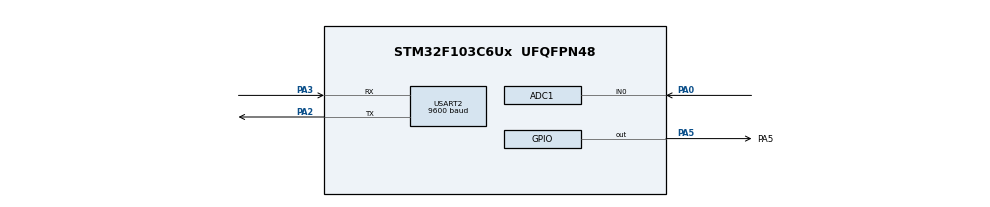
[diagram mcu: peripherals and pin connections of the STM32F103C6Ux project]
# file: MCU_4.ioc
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ADC1.Channel-0\#ChannelRegularConversion=ADC_CHANNEL_0
ADC1.ContinuousConvMode=ENABLE
ADC1.NbrOfConversionFlag=1
ADC1.Rank-0\#ChannelRegularConversion=1
ADC1.SamplingTime-0\#ChannelRegularConversion=ADC_SAMPLETIME_1CYCLE_5
ADC1.master=1
Mcu.Family=STM32F1
Mcu.Name=STM32F103C6Ux
Mcu.Package=UFQFPN48
NVIC.PriorityGroup=NVIC_PRIORITYGROUP_4
NVIC.TIM2_IRQn=true\:0\:0\:false\:false\:true\:true\:true\:true
NVIC.USART2_IRQn=true\:0\:0\:false\:false\:true\:true\:true\:true
PA0-WKUP.Signal=ADCx_IN0
PA13.Mode=Serial_Wire
PA13.Signal=SYS_JTMS-SWDIO
PA14.Mode=Serial_Wire
PA14.Signal=SYS_JTCK-SWCLK
PA2.Mode=Asynchronous
PA2.Signal=USART2_TX
PA3.Mode=Asynchronous
PA3.Signal=USART2_RX
PA5.GPIO_Label=PA5
PA5.Signal=GPIO_Output
ProjectManager.HeapSize=0x200
ProjectManager.StackSize=0x400
ProjectManager.TargetToolchain=STM32CubeIDE
RCC.APB1Freq_Value=8000000
RCC.APB2Freq_Value=8000000
SH.ADCx_IN0.0=ADC1_IN0,IN0
TIM2.Period=7
TIM2.Prescaler=7999
USART2.BaudRate=9600
USART2.VirtualMode=VM_ASYNC
VP_TIM2_VS_ClockSourceINT.Mode=Internal
board=custom

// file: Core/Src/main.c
/* USER CODE BEGIN Header */
/**
  ******************************************************************************
  * @file           : main.c
  * @brief          : Main program body
  ******************************************************************************
  * @attention
  *
  * Copyright (c) 2023 STMicroelectronics.
  * All rights reserved.
  *
  * This software is licensed under terms that can be found in the LICENSE file
  * in the root directory of this software component.
  * If no LICENSE file comes with this software, it is provided AS-IS.
  *
  ******************************************************************************
  */
/* USER CODE END Header */
#include "main.h"

/* USER CODE BEGIN Includes */
#include "software_timer.h"
#include "stdio.h"
#include "string.h"
/* USER CODE END Includes */

ADC_HandleTypeDef hadc1;

TIM_HandleTypeDef htim2;

UART_HandleTypeDef huart2;

void SystemClock_Config(void);
static void MX_GPIO_Init(void);
static void MX_TIM2_Init(void);
static void MX_USART2_UART_Init(void);
static void MX_ADC1_Init(void);

/* USER CODE BEGIN 0 */
#define MAX_CMD_SIZE 5
#define MAX_BUFFER_SIZE 30
#define INIT 0
#define HANDLE 1
#define SERVING 2
#define RST 1
#define OK 2

uint8_t temp_byte;
uint8_t buffer[MAX_BUFFER_SIZE];
uint8_t index_buffer = 0;
uint8_t buffer_flag = 0;
uint8_t cmd_flag = 0;
uint8_t cmd_data[MAX_CMD_SIZE];
uint8_t cmd_data_index = 0;
int ADC_value = 0;
int mode = 0;

void reset_buffer(){
	for(int i=0; i < MAX_BUFFER_SIZE; i++){
		buffer[i] = ' ';
	}
	index_buffer = 0;
	//cmd_data_index = 0;
}
void HAL_UART_RxCpltCallback(UART_HandleTypeDef *huart){
	if (huart->Instance == USART2){
		HAL_UART_Transmit(&huart2, &temp_byte, 1, 500);
		buffer[index_buffer++] = temp_byte;
		if (index_buffer == MAX_BUFFER_SIZE) {
			index_buffer = 0;
		}

		buffer_flag = 1;
		HAL_UART_Receive_IT(&huart2, &temp_byte, 1);
	}
}

int check_RST(uint8_t str[]){
	if (str[0] == 'R' && str[1] == 'S' && str[2] == 'T'){
		return 1;
	}
	else return 0;
}

int check_OK(uint8_t str[]){
	if (str[0] == 'O' && str[1] == 'K'){
		return 1;
	}
	else return 0;
}

void cmd_parser_fsm(){
	switch(mode){
	case INIT:
		if(temp_byte == '!'){
			reset_buffer();
			mode = HANDLE;
		}
		reset_buffer();
		break;
	case HANDLE:
		if(index_buffer == 0){
			mode = INIT;
		}
		else if(temp_byte == '#'){
			memcpy(cmd_data, buffer, sizeof(cmd_data));
			cmd_flag = 1;
			mode = INIT;
		}
		else if(temp_byte == '!'){
			reset_buffer();
		}
		break;
	}
}

void uart_communication(){
	char str[50];
	if(cmd_flag == 1){
		if(check_RST(cmd_data) == 1){
			ADC_value = HAL_ADC_GetValue(&hadc1);
			HAL_UART_Transmit(&huart2, (void *)str, sprintf(str, "!ADC=%d#\r\n",ADC_value), 500);
		}
		else if(check_OK(cmd_data) == 1){
			ADC_value = -1;
			cmd_flag = 0;
		}
	}
}

/* USER CODE END 0 */

int main(void)
{

  /* MCU Configuration--------------------------------------------------------*/

  /* Reset of all peripherals, Initializes the Flash interface and the Systick. */
  HAL_Init();

  /* Configure the system clock */
  SystemClock_Config();

  /* Initialize all configured peripherals */
  MX_GPIO_Init();
  MX_TIM2_Init();
  MX_USART2_UART_Init();
  MX_ADC1_Init();
  /* USER CODE BEGIN 2 */
  HAL_TIM_Base_Start_IT(&htim2);
  HAL_UART_Receive_IT(&huart2, &temp_byte, 1);
  HAL_ADC_Start(&hadc1);

  /* USER CODE END 2 */

  /* Infinite loop */
  /* USER CODE BEGIN WHILE */
  setTimer0(20);
  setTimer1(30);
  setTimer2(40);

  while (1)
  {
    /* USER CODE END WHILE */

    /* USER CODE BEGIN 3 */
	  if (timer0_flag == 1){
		  HAL_GPIO_TogglePin(GPIOA, PA5_Pin);
		  setTimer0(50);
	  }
	  if(timer1_flag == 1){
		  if (buffer_flag == 1){
			  cmd_parser_fsm();
			  buffer_flag = 0;
		  }
		  setTimer1(50);
	  }

	//  cmd_parser_fsm();
	  if(timer2_flag == 1){
		  uart_communication();
		  setTimer2(100);
	  }
 }
  /* USER CODE END 3 */
}

void SystemClock_Config(void)
{
  RCC_OscInitTypeDef RCC_OscInitStruct = {0};
  RCC_ClkInitTypeDef RCC_ClkInitStruct = {0};
  RCC_PeriphCLKInitTypeDef PeriphClkInit = {0};

  /** Initializes the RCC Oscillators according to the specified parameters
  * in the RCC_OscInitTypeDef structure.
  */
  RCC_OscInitStruct.OscillatorType = RCC_OSCILLATORTYPE_HSI;
  RCC_OscInitStruct.HSIState = RCC_HSI_ON;
  RCC_OscInitStruct.HSICalibrationValue = RCC_HSICALIBRATION_DEFAULT;
  RCC_OscInitStruct.PLL.PLLState = RCC_PLL_NONE;
  if (HAL_RCC_OscConfig(&RCC_OscInitStruct) != HAL_OK)
  {
    Error_Handler();
  }

  /** Initializes the CPU, AHB and APB buses clocks
  */
  RCC_ClkInitStruct.ClockType = RCC_CLOCKTYPE_HCLK|RCC_CLOCKTYPE_SYSCLK
                              |RCC_CLOCKTYPE_PCLK1|RCC_CLOCKTYPE_PCLK2;
  RCC_ClkInitStruct.SYSCLKSource = RCC_SYSCLKSOURCE_HSI;
  RCC_ClkInitStruct.AHBCLKDivider = RCC_SYSCLK_DIV1;
  RCC_ClkInitStruct.APB1CLKDivider = RCC_HCLK_DIV1;
  RCC_ClkInitStruct.APB2CLKDivider = RCC_HCLK_DIV1;

  if (HAL_RCC_ClockConfig(&RCC_ClkInitStruct, FLASH_LATENCY_0) != HAL_OK)
  {
    Error_Handler();
  }
  PeriphClkInit.PeriphClockSelection = RCC_PERIPHCLK_ADC;
  PeriphClkInit.AdcClockSelection = RCC_ADCPCLK2_DIV2;
  if (HAL_RCCEx_PeriphCLKConfig(&PeriphClkInit) != HAL_OK)
  {
    Error_Handler();
  }
}

static void MX_ADC1_Init(void)
{

  ADC_ChannelConfTypeDef sConfig = {0};

  /** Common config
  */
  hadc1.Instance = ADC1;
  hadc1.Init.ScanConvMode = ADC_SCAN_DISABLE;
  hadc1.Init.ContinuousConvMode = ENABLE;
  hadc1.Init.DiscontinuousConvMode = DISABLE;
  hadc1.Init.ExternalTrigConv = ADC_SOFTWARE_START;
  hadc1.Init.DataAlign = ADC_DATAALIGN_RIGHT;
  hadc1.Init.NbrOfConversion = 1;
  if (HAL_ADC_Init(&hadc1) != HAL_OK)
  {
    Error_Handler();
  }

  /** Configure Regular Channel
  */
  sConfig.Channel = ADC_CHANNEL_0;
  sConfig.Rank = ADC_REGULAR_RANK_1;
  sConfig.SamplingTime = ADC_SAMPLETIME_1CYCLE_5;
  if (HAL_ADC_ConfigChannel(&hadc1, &sConfig) != HAL_OK)
  {
    Error_Handler();
  }

}

static void MX_TIM2_Init(void)
{

  TIM_ClockConfigTypeDef sClockSourceConfig = {0};
  TIM_MasterConfigTypeDef sMasterConfig = {0};

  htim2.Instance = TIM2;
  htim2.Init.Prescaler = 7999;
  htim2.Init.CounterMode = TIM_COUNTERMODE_UP;
  htim2.Init.Period = 7;
  htim2.Init.ClockDivision = TIM_CLOCKDIVISION_DIV1;
  htim2.Init.AutoReloadPreload = TIM_AUTORELOAD_PRELOAD_DISABLE;
  if (HAL_TIM_Base_Init(&htim2) != HAL_OK)
  {
    Error_Handler();
  }
  sClockSourceConfig.ClockSource = TIM_CLOCKSOURCE_INTERNAL;
  if (HAL_TIM_ConfigClockSource(&htim2, &sClockSourceConfig) != HAL_OK)
  {
    Error_Handler();
  }
  sMasterConfig.MasterOutputTrigger = TIM_TRGO_RESET;
  sMasterConfig.MasterSlaveMode = TIM_MASTERSLAVEMODE_DISABLE;
  if (HAL_TIMEx_MasterConfigSynchronization(&htim2, &sMasterConfig) != HAL_OK)
  {
    Error_Handler();
  }

}

static void MX_USART2_UART_Init(void)
{

  huart2.Instance = USART2;
  huart2.Init.BaudRate = 9600;
  huart2.Init.WordLength = UART_WORDLENGTH_8B;
  huart2.Init.StopBits = UART_STOPBITS_1;
  huart2.Init.Parity = UART_PARITY_NONE;
  huart2.Init.Mode = UART_MODE_TX_RX;
  huart2.Init.HwFlowCtl = UART_HWCONTROL_NONE;
  huart2.Init.OverSampling = UART_OVERSAMPLING_16;
  if (HAL_UART_Init(&huart2) != HAL_OK)
  {
    Error_Handler();
  }

}

static void MX_GPIO_Init(void)
{
  GPIO_InitTypeDef GPIO_InitStruct = {0};

  /* GPIO Ports Clock Enable */
  __HAL_RCC_GPIOA_CLK_ENABLE();

  /*Configure GPIO pin Output Level */
  HAL_GPIO_WritePin(PA5_GPIO_Port, PA5_Pin, GPIO_PIN_RESET);

  /*Configure GPIO pin : PA5_Pin */
  GPIO_InitStruct.Pin = PA5_Pin;
  GPIO_InitStruct.Mode = GPIO_MODE_OUTPUT_PP;
  GPIO_InitStruct.Pull = GPIO_NOPULL;
  GPIO_InitStruct.Speed = GPIO_SPEED_FREQ_LOW;
  HAL_GPIO_Init(PA5_GPIO_Port, &GPIO_InitStruct);

}

/* USER CODE BEGIN 4 */
void HAL_TIM_PeriodElapsedCallback (TIM_HandleTypeDef *htim ){
	timerRun();
}

/* USER CODE END 4 */

void Error_Handler(void)
{
  __disable_irq();
  while (1)
  {
  }
}
